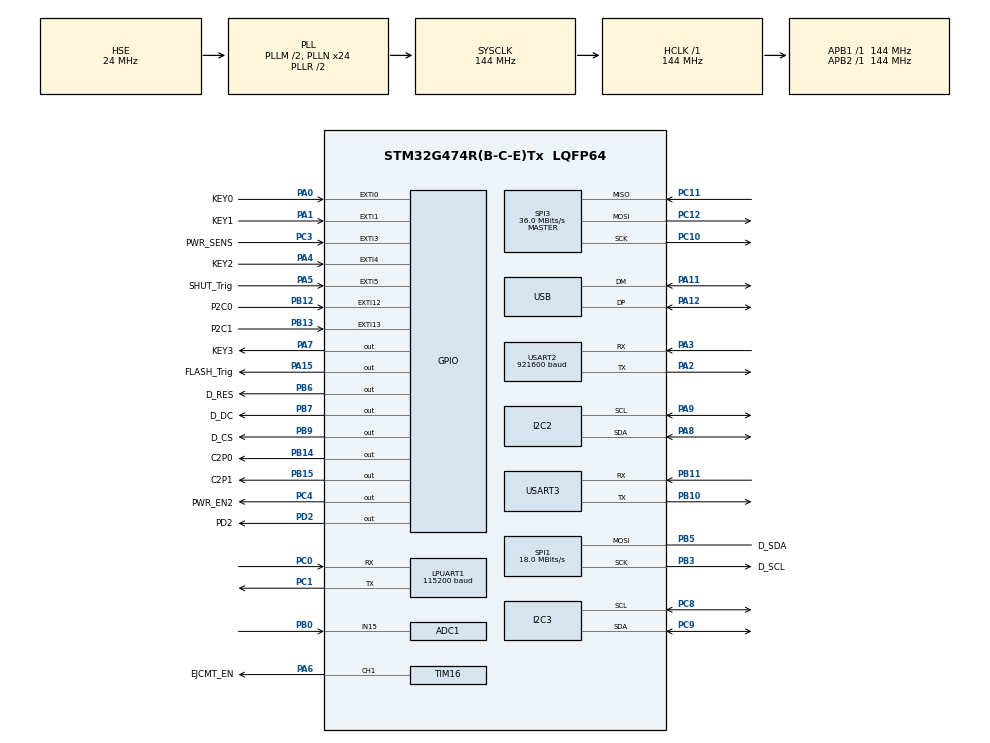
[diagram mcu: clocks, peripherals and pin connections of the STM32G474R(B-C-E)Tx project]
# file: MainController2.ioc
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ADC1.Channel-0\#ChannelRegularConversion=ADC_CHANNEL_15
ADC1.Channel-1\#ChannelRegularConversion=ADC_CHANNEL_TEMPSENSOR_ADC1
ADC1.Channel-2\#ChannelRegularConversion=ADC_CHANNEL_VREFINT
ADC1.DiscontinuousConvMode=DISABLE
ADC1.EOCSelection=ADC_EOC_SEQ_CONV
ADC1.NbrOfConversion=3
ADC1.NbrOfConversionFlag=1
ADC1.OffsetNumber-0\#ChannelRegularConversion=ADC_OFFSET_NONE
ADC1.OffsetNumber-1\#ChannelRegularConversion=ADC_OFFSET_NONE
ADC1.OffsetNumber-2\#ChannelRegularConversion=ADC_OFFSET_NONE
ADC1.OversamplingMode=DISABLE
ADC1.Rank-0\#ChannelRegularConversion=1
ADC1.Rank-1\#ChannelRegularConversion=2
ADC1.Rank-2\#ChannelRegularConversion=3
ADC1.SamplingTime-0\#ChannelRegularConversion=ADC_SAMPLETIME_640CYCLES_5
ADC1.SamplingTime-1\#ChannelRegularConversion=ADC_SAMPLETIME_12CYCLES_5
ADC1.SamplingTime-2\#ChannelRegularConversion=ADC_SAMPLETIME_12CYCLES_5
ADC1.master=1
Dma.ADC1.8.Direction=DMA_PERIPH_TO_MEMORY
Dma.ADC1.8.EventEnable=DISABLE
Dma.ADC1.8.Instance=DMA2_Channel3
Dma.ADC1.8.MemDataAlignment=DMA_MDATAALIGN_HALFWORD
Dma.ADC1.8.MemInc=DMA_MINC_ENABLE
Dma.ADC1.8.Mode=DMA_NORMAL
Dma.ADC1.8.PeriphDataAlignment=DMA_PDATAALIGN_HALFWORD
Dma.ADC1.8.PeriphInc=DMA_PINC_DISABLE
Dma.ADC1.8.Polarity=HAL_DMAMUX_REQ_GEN_RISING
Dma.ADC1.8.Priority=DMA_PRIORITY_HIGH
Dma.ADC1.8.RequestNumber=1
Dma.ADC1.8.SignalID=NONE
Dma.ADC1.8.SyncEnable=DISABLE
Dma.ADC1.8.SyncPolarity=HAL_DMAMUX_SYNC_NO_EVENT
Dma.ADC1.8.SyncRequestNumber=1
Dma.ADC1.8.SyncSignalID=NONE
Dma.I2C2_RX.0.Direction=DMA_PERIPH_TO_MEMORY
Dma.I2C2_RX.0.EventEnable=DISABLE
Dma.I2C2_RX.0.Instance=DMA1_Channel1
Dma.I2C2_RX.0.MemDataAlignment=DMA_MDATAALIGN_BYTE
Dma.I2C2_RX.0.MemInc=DMA_MINC_ENABLE
Dma.I2C2_RX.0.Mode=DMA_NORMAL
Dma.I2C2_RX.0.PeriphDataAlignment=DMA_PDATAALIGN_BYTE
Dma.I2C2_RX.0.PeriphInc=DMA_PINC_DISABLE
Dma.I2C2_RX.0.Polarity=HAL_DMAMUX_REQ_GEN_RISING
Dma.I2C2_RX.0.Priority=DMA_PRIORITY_LOW
Dma.I2C2_RX.0.RequestNumber=1
Dma.I2C2_RX.0.SignalID=NONE
Dma.I2C2_RX.0.SyncEnable=DISABLE
Dma.I2C2_RX.0.SyncPolarity=HAL_DMAMUX_SYNC_NO_EVENT
Dma.I2C2_RX.0.SyncRequestNumber=1
Dma.I2C2_RX.0.SyncSignalID=NONE
Dma.I2C2_TX.1.Direction=DMA_MEMORY_TO_PERIPH
Dma.I2C2_TX.1.EventEnable=DISABLE
Dma.I2C2_TX.1.Instance=DMA1_Channel2
Dma.I2C2_TX.1.MemDataAlignment=DMA_MDATAALIGN_BYTE
Dma.I2C2_TX.1.MemInc=DMA_MINC_ENABLE
Dma.I2C2_TX.1.Mode=DMA_NORMAL
Dma.I2C2_TX.1.PeriphDataAlignment=DMA_PDATAALIGN_BYTE
Dma.I2C2_TX.1.PeriphInc=DMA_PINC_DISABLE
Dma.I2C2_TX.1.Polarity=HAL_DMAMUX_REQ_GEN_RISING
Dma.I2C2_TX.1.Priority=DMA_PRIORITY_LOW
Dma.I2C2_TX.1.RequestNumber=1
Dma.I2C2_TX.1.SignalID=NONE
Dma.I2C2_TX.1.SyncEnable=DISABLE
Dma.I2C2_TX.1.SyncPolarity=HAL_DMAMUX_SYNC_NO_EVENT
Dma.I2C2_TX.1.SyncRequestNumber=1
Dma.I2C2_TX.1.SyncSignalID=NONE
Dma.I2C3_RX.2.Direction=DMA_PERIPH_TO_MEMORY
Dma.I2C3_RX.2.EventEnable=DISABLE
Dma.I2C3_RX.2.Instance=DMA1_Channel3
Dma.I2C3_RX.2.MemDataAlignment=DMA_MDATAALIGN_BYTE
Dma.I2C3_RX.2.MemInc=DMA_MINC_ENABLE
Dma.I2C3_RX.2.Mode=DMA_NORMAL
Dma.I2C3_RX.2.PeriphDataAlignment=DMA_PDATAALIGN_BYTE
Dma.I2C3_RX.2.PeriphInc=DMA_PINC_DISABLE
Dma.I2C3_RX.2.Polarity=HAL_DMAMUX_REQ_GEN_RISING
Dma.I2C3_RX.2.Priority=DMA_PRIORITY_LOW
Dma.I2C3_RX.2.RequestNumber=1
Dma.I2C3_RX.2.SignalID=NONE
Dma.I2C3_RX.2.SyncEnable=DISABLE
Dma.I2C3_RX.2.SyncPolarity=HAL_DMAMUX_SYNC_NO_EVENT
Dma.I2C3_RX.2.SyncRequestNumber=1
Dma.I2C3_RX.2.SyncSignalID=NONE
Dma.I2C3_TX.3.Direction=DMA_MEMORY_TO_PERIPH
Dma.I2C3_TX.3.EventEnable=DISABLE
Dma.I2C3_TX.3.Instance=DMA1_Channel4
Dma.I2C3_TX.3.MemDataAlignment=DMA_MDATAALIGN_BYTE
Dma.I2C3_TX.3.MemInc=DMA_MINC_ENABLE
Dma.I2C3_TX.3.Mode=DMA_NORMAL
Dma.I2C3_TX.3.PeriphDataAlignment=DMA_PDATAALIGN_BYTE
Dma.I2C3_TX.3.PeriphInc=DMA_PINC_DISABLE
Dma.I2C3_TX.3.Polarity=HAL_DMAMUX_REQ_GEN_RISING
Dma.I2C3_TX.3.Priority=DMA_PRIORITY_LOW
Dma.I2C3_TX.3.RequestNumber=1
Dma.I2C3_TX.3.SignalID=NONE
Dma.I2C3_TX.3.SyncEnable=DISABLE
Dma.I2C3_TX.3.SyncPolarity=HAL_DMAMUX_SYNC_NO_EVENT
Dma.I2C3_TX.3.SyncRequestNumber=1
Dma.I2C3_TX.3.SyncSignalID=NONE
Dma.Request0=I2C2_RX
Dma.Request1=I2C2_TX
Dma.Request10=SPI1_RX
Dma.Request2=I2C3_RX
Dma.Request3=I2C3_TX
Dma.Request4=USART3_RX
Dma.Request5=USART3_TX
Dma.Request6=SPI3_RX
Dma.Request7=SPI3_TX
Dma.Request8=ADC1
Dma.Request9=SPI1_TX
Dma.SPI1_RX.10.Direction=DMA_PERIPH_TO_MEMORY
Dma.SPI1_RX.10.EventEnable=DISABLE
Dma.SPI1_RX.10.Instance=DMA1_Channel6
Dma.SPI1_RX.10.MemDataAlignment=DMA_MDATAALIGN_HALFWORD
Dma.SPI1_RX.10.MemInc=DMA_MINC_ENABLE
Dma.SPI1_RX.10.Mode=DMA_NORMAL
Dma.SPI1_RX.10.PeriphDataAlignment=DMA_PDATAALIGN_HALFWORD
Dma.SPI1_RX.10.PeriphInc=DMA_PINC_DISABLE
Dma.SPI1_RX.10.Polarity=HAL_DMAMUX_REQ_GEN_RISING
Dma.SPI1_RX.10.Priority=DMA_PRIORITY_LOW
Dma.SPI1_RX.10.RequestNumber=1
Dma.SPI1_RX.10.SignalID=NONE
Dma.SPI1_RX.10.SyncEnable=DISABLE
Dma.SPI1_RX.10.SyncPolarity=HAL_DMAMUX_SYNC_NO_EVENT
Dma.SPI1_RX.10.SyncRequestNumber=1
Dma.SPI1_RX.10.SyncSignalID=NONE
Dma.SPI1_TX.9.Direction=DMA_MEMORY_TO_PERIPH
Dma.SPI1_TX.9.EventEnable=DISABLE
Dma.SPI1_TX.9.Instance=DMA1_Channel5
Dma.SPI1_TX.9.MemDataAlignment=DMA_MDATAALIGN_HALFWORD
Dma.SPI1_TX.9.MemInc=DMA_MINC_ENABLE
Dma.SPI1_TX.9.Mode=DMA_NORMAL
Dma.SPI1_TX.9.PeriphDataAlignment=DMA_PDATAALIGN_HALFWORD
Dma.SPI1_TX.9.PeriphInc=DMA_PINC_DISABLE
Dma.SPI1_TX.9.Polarity=HAL_DMAMUX_REQ_GEN_RISING
Dma.SPI1_TX.9.Priority=DMA_PRIORITY_HIGH
Dma.SPI1_TX.9.RequestNumber=1
Dma.SPI1_TX.9.SignalID=NONE
Dma.SPI1_TX.9.SyncEnable=DISABLE
Dma.SPI1_TX.9.SyncPolarity=HAL_DMAMUX_SYNC_NO_EVENT
Dma.SPI1_TX.9.SyncRequestNumber=1
Dma.SPI1_TX.9.SyncSignalID=NONE
Dma.SPI3_RX.6.Direction=DMA_PERIPH_TO_MEMORY
Dma.SPI3_RX.6.EventEnable=DISABLE
Dma.SPI3_RX.6.Instance=DMA2_Channel5
Dma.SPI3_RX.6.MemDataAlignment=DMA_MDATAALIGN_BYTE
Dma.SPI3_RX.6.MemInc=DMA_MINC_ENABLE
Dma.SPI3_RX.6.Mode=DMA_NORMAL
Dma.SPI3_RX.6.PeriphDataAlignment=DMA_PDATAALIGN_BYTE
Dma.SPI3_RX.6.PeriphInc=DMA_PINC_DISABLE
Dma.SPI3_RX.6.Polarity=HAL_DMAMUX_REQ_GEN_RISING
Dma.SPI3_RX.6.Priority=DMA_PRIORITY_LOW
Dma.SPI3_RX.6.RequestNumber=1
Dma.SPI3_RX.6.SignalID=NONE
Dma.SPI3_RX.6.SyncEnable=DISABLE
Dma.SPI3_RX.6.SyncPolarity=HAL_DMAMUX_SYNC_NO_EVENT
Dma.SPI3_RX.6.SyncRequestNumber=1
Dma.SPI3_RX.6.SyncSignalID=NONE
Dma.SPI3_TX.7.Direction=DMA_MEMORY_TO_PERIPH
Dma.SPI3_TX.7.EventEnable=DISABLE
Dma.SPI3_TX.7.Instance=DMA2_Channel6
Dma.SPI3_TX.7.MemDataAlignment=DMA_MDATAALIGN_BYTE
Dma.SPI3_TX.7.MemInc=DMA_MINC_ENABLE
Dma.SPI3_TX.7.Mode=DMA_NORMAL
Dma.SPI3_TX.7.PeriphDataAlignment=DMA_PDATAALIGN_BYTE
Dma.SPI3_TX.7.PeriphInc=DMA_PINC_DISABLE
Dma.SPI3_TX.7.Polarity=HAL_DMAMUX_REQ_GEN_RISING
Dma.SPI3_TX.7.Priority=DMA_PRIORITY_LOW
Dma.SPI3_TX.7.RequestNumber=1
Dma.SPI3_TX.7.SignalID=NONE
Dma.SPI3_TX.7.SyncEnable=DISABLE
Dma.SPI3_TX.7.SyncPolarity=HAL_DMAMUX_SYNC_NO_EVENT
Dma.SPI3_TX.7.SyncRequestNumber=1
Dma.SPI3_TX.7.SyncSignalID=NONE
Dma.USART3_RX.4.Direction=DMA_PERIPH_TO_MEMORY
Dma.USART3_RX.4.EventEnable=DISABLE
Dma.USART3_RX.4.Instance=DMA2_Channel1
Dma.USART3_RX.4.MemDataAlignment=DMA_MDATAALIGN_BYTE
Dma.USART3_RX.4.MemInc=DMA_MINC_ENABLE
Dma.USART3_RX.4.Mode=DMA_NORMAL
Dma.USART3_RX.4.PeriphDataAlignment=DMA_PDATAALIGN_BYTE
Dma.USART3_RX.4.PeriphInc=DMA_PINC_DISABLE
Dma.USART3_RX.4.Polarity=HAL_DMAMUX_REQ_GEN_RISING
Dma.USART3_RX.4.Priority=DMA_PRIORITY_LOW
Dma.USART3_RX.4.RequestNumber=1
Dma.USART3_RX.4.SignalID=NONE
Dma.USART3_RX.4.SyncEnable=DISABLE
Dma.USART3_RX.4.SyncPolarity=HAL_DMAMUX_SYNC_NO_EVENT
Dma.USART3_RX.4.SyncRequestNumber=1
Dma.USART3_RX.4.SyncSignalID=NONE
Dma.USART3_TX.5.Direction=DMA_MEMORY_TO_PERIPH
Dma.USART3_TX.5.EventEnable=DISABLE
Dma.USART3_TX.5.Instance=DMA2_Channel2
Dma.USART3_TX.5.MemDataAlignment=DMA_MDATAALIGN_BYTE
Dma.USART3_TX.5.MemInc=DMA_MINC_ENABLE
Dma.USART3_TX.5.Mode=DMA_NORMAL
Dma.USART3_TX.5.PeriphDataAlignment=DMA_PDATAALIGN_BYTE
Dma.USART3_TX.5.PeriphInc=DMA_PINC_DISABLE
Dma.USART3_TX.5.Polarity=HAL_DMAMUX_REQ_GEN_RISING
Dma.USART3_TX.5.Priority=DMA_PRIORITY_LOW
Dma.USART3_TX.5.RequestNumber=1
Dma.USART3_TX.5.SignalID=NONE
Dma.USART3_TX.5.SyncEnable=DISABLE
Dma.USART3_TX.5.SyncPolarity=HAL_DMAMUX_SYNC_NO_EVENT
Dma.USART3_TX.5.SyncRequestNumber=1
Dma.USART3_TX.5.SyncSignalID=NONE
I2C2.Timing=0x60715075
I2C3.Timing=0x60715075
LPUART1.BaudRate=115200
Mcu.Family=STM32G4
Mcu.Name=STM32G474R(B-C-E)Tx
Mcu.Package=LQFP64
NVIC.ADC1_2_IRQn=true\:0\:0\:false\:false\:true\:true\:true\:true
NVIC.DMA1_Channel1_IRQn=true\:0\:0\:false\:false\:true\:false\:true\:true
NVIC.DMA1_Channel2_IRQn=true\:0\:0\:false\:false\:true\:false\:true\:true
NVIC.DMA1_Channel3_IRQn=true\:0\:0\:false\:false\:true\:false\:true\:true
NVIC.DMA1_Channel4_IRQn=true\:0\:0\:false\:false\:true\:false\:true\:true
NVIC.DMA1_Channel5_IRQn=true\:0\:0\:false\:false\:true\:false\:true\:true
NVIC.DMA1_Channel6_IRQn=true\:0\:0\:false\:false\:true\:false\:true\:true
NVIC.DMA2_Channel1_IRQn=true\:0\:0\:false\:false\:true\:false\:true\:true
NVIC.DMA2_Channel2_IRQn=true\:0\:0\:false\:false\:true\:false\:true\:true
NVIC.DMA2_Channel3_IRQn=true\:0\:0\:false\:false\:true\:false\:true\:true
NVIC.DMA2_Channel5_IRQn=true\:0\:0\:false\:false\:true\:false\:true\:true
NVIC.DMA2_Channel6_IRQn=true\:0\:0\:false\:false\:true\:false\:true\:true
NVIC.EXTI0_IRQn=true\:0\:0\:false\:false\:true\:true\:true\:true
NVIC.EXTI15_10_IRQn=true\:0\:0\:false\:false\:true\:true\:true\:true
NVIC.EXTI1_IRQn=true\:0\:0\:false\:false\:true\:true\:true\:true
NVIC.EXTI4_IRQn=true\:0\:0\:false\:false\:true\:true\:true\:true
NVIC.EXTI9_5_IRQn=true\:0\:0\:false\:false\:true\:true\:true\:true
NVIC.I2C2_EV_IRQn=true\:0\:0\:false\:false\:true\:true\:true\:true
NVIC.I2C3_EV_IRQn=true\:0\:0\:false\:false\:true\:true\:true\:true
NVIC.PriorityGroup=NVIC_PRIORITYGROUP_4
NVIC.SPI1_IRQn=true\:0\:0\:false\:false\:true\:true\:true\:true
NVIC.SPI3_IRQn=true\:0\:0\:false\:false\:true\:true\:true\:true
NVIC.TIM1_UP_TIM16_IRQn=true\:0\:0\:false\:false\:true\:true\:true\:true
NVIC.TIM2_IRQn=true\:0\:0\:false\:false\:true\:true\:true\:true
NVIC.TIM3_IRQn=true\:0\:0\:false\:false\:true\:true\:true\:true
NVIC.USART2_IRQn=true\:0\:0\:false\:false\:true\:true\:true\:true
NVIC.USB_HP_IRQn=true\:0\:0\:false\:false\:true\:true\:true\:true
NVIC.USB_LP_IRQn=true\:0\:0\:false\:false\:true\:false\:true\:true
PA0.GPIO_Label=KEY0
PA0.Signal=GPXTI0
PA1.GPIO_Label=KEY1
PA1.Signal=GPXTI1
PA11.Mode=Device
PA11.Signal=USB_DM
PA12.Mode=Device
PA12.Signal=USB_DP
PA13.Mode=Serial_Wire
PA13.Signal=SYS_JTMS-SWDIO
PA14.Mode=Serial_Wire
PA14.Signal=SYS_JTCK-SWCLK
PA15.GPIO_Label=FLASH_Trig
PA15.Signal=GPIO_Output
PA2.Mode=Asynchronous
PA2.Signal=USART2_TX
PA3.Mode=Asynchronous
PA3.Signal=USART2_RX
PA4.GPIO_Label=KEY2
PA4.Signal=GPXTI4
PA5.GPIO_Label=SHUT_Trig
PA5.GPIO_ModeDefaultEXTI=GPIO_MODE_IT_RISING
PA5.GPIO_PuPd=GPIO_PULLDOWN
PA5.Signal=GPXTI5
PA6.GPIO_Label=EJCMT_EN
PA6.GPIO_PuPd=GPIO_PULLDOWN
PA6.GPIO_Speed=GPIO_SPEED_FREQ_VERY_HIGH
PA6.Signal=S_TIM16_CH1
PA7.GPIO_Label=KEY3
PA7.Signal=GPIO_Output
PA8.Mode=I2C
PA8.Signal=I2C2_SDA
PA9.Mode=I2C
PA9.Signal=I2C2_SCL
PB0.Mode=IN15-Single-Ended
PB0.Signal=ADC1_IN15
PB10.Mode=Asynchronous
PB10.Signal=USART3_TX
PB11.Mode=Asynchronous
PB11.Signal=USART3_RX
PB12.GPIO_Label=P2C0
PB12.Signal=GPXTI12
PB13.GPIO_Label=P2C1
PB13.Signal=GPXTI13
PB14.GPIO_Label=C2P0
PB14.Signal=GPIO_Output
PB15.GPIO_Label=C2P1
PB15.Signal=GPIO_Output
PB3.GPIO_Label=D_SCL
PB3.Mode=Simplex_Bidirectional_Master
PB3.Signal=SPI1_SCK
PB5.GPIO_Label=D_SDA
PB5.Mode=Simplex_Bidirectional_Master
PB5.Signal=SPI1_MOSI
PB6.GPIO_Label=D_RES
PB6.Signal=GPIO_Output
PB7.GPIO_Label=D_DC
PB7.Signal=GPIO_Output
PB9.GPIO_Label=D_CS
PB9.Signal=GPIO_Output
PC0.Mode=Asynchronous
PC0.Signal=LPUART1_RX
PC1.Mode=Asynchronous
PC1.Signal=LPUART1_TX
PC10.Mode=Full_Duplex_Master
PC10.Signal=SPI3_SCK
PC11.Mode=Full_Duplex_Master
PC11.Signal=SPI3_MISO
PC12.Mode=Full_Duplex_Master
PC12.Signal=SPI3_MOSI
PC14-OSC32_IN.Mode=LSE-External-Oscillator
PC14-OSC32_IN.Signal=RCC_OSC32_IN
PC15-OSC32_OUT.Mode=LSE-External-Oscillator
PC15-OSC32_OUT.Signal=RCC_OSC32_OUT
PC3.GPIO_Label=PWR_SENS
PC3.Signal=GPXTI3
PC4.GPIO_Label=PWR_EN2
PC4.Signal=GPIO_Output
PC8.Mode=I2C
PC8.Signal=I2C3_SCL
PC9.Mode=I2C
PC9.Signal=I2C3_SDA
PD2.GPIO_Label=PD2
PD2.Signal=GPIO_Output
PF0-OSC_IN.Mode=HSE-External-Oscillator
PF0-OSC_IN.Signal=RCC_OSC_IN
PF1-OSC_OUT.Mode=HSE-External-Oscillator
PF1-OSC_OUT.Signal=RCC_OSC_OUT
ProjectManager.HeapSize=0x2000
ProjectManager.StackSize=0x1000
ProjectManager.TargetToolchain=MDK-ARM V5.32
RCC.ADC12Freq_Value=144000000
RCC.ADC345Freq_Value=144000000
RCC.AHBFreq_Value=144000000
RCC.APB1Freq_Value=144000000
RCC.APB1TimFreq_Value=144000000
RCC.APB2Freq_Value=144000000
RCC.APB2TimFreq_Value=144000000
RCC.CK48CLockSelection=RCC_USBCLKSOURCE_HSI48
RCC.CortexFreq_Value=144000000
RCC.EXTERNAL_CLOCK_VALUE=12288000
RCC.HCLKFreq_Value=144000000
RCC.HSE_VALUE=24000000
RCC.HSI48_VALUE=48000000
RCC.HSI_VALUE=16000000
RCC.PLLM=RCC_PLLM_DIV2
RCC.PLLN=24
RCC.PLLQ=RCC_PLLQ_DIV6
RCC.PLLSourceVirtual=RCC_PLLSOURCE_HSE
RCC.RTCClockSelection=RCC_RTCCLKSOURCE_LSE
RCC.SYSCLKFreq_VALUE=144000000
RCC.SYSCLKSource=RCC_SYSCLKSOURCE_PLLCLK
RCC.USBFreq_Value=48000000
RCC.VCOOutputFreq_Value=288000000
SH.S_TIM16_CH1.0=TIM16_CH1,PWM Generation1 CH1
SPI1.BaudRatePrescaler=SPI_BAUDRATEPRESCALER_8
SPI1.CLKPhase=SPI_PHASE_2EDGE
SPI1.CLKPolarity=SPI_POLARITY_HIGH
SPI1.CalculateBaudRate=18.0 MBits/s
SPI1.DataSize=SPI_DATASIZE_8BIT
SPI1.Direction=SPI_DIRECTION_1LINE
SPI1.Mode=SPI_MODE_MASTER
SPI1.VirtualType=VM_MASTER
SPI3.BaudRatePrescaler=SPI_BAUDRATEPRESCALER_4
SPI3.CalculateBaudRate=36.0 MBits/s
SPI3.Direction=SPI_DIRECTION_2LINES
SPI3.Mode=SPI_MODE_MASTER
SPI3.NSSPMode=SPI_NSS_PULSE_ENABLE
SPI3.VirtualType=VM_MASTER
TIM1.Prescaler=0
TIM16.Channel=TIM_CHANNEL_1
TIM16.PeriodNoDither=10000-1
TIM16.Prescaler=144 - 1
TIM2.AutoReloadPreload=TIM_AUTORELOAD_PRELOAD_ENABLE
TIM2.PeriodNoDither=100-1
TIM2.Prescaler=14400-1
TIM3.PeriodNoDither=100-1
TIM3.Prescaler=1440-1
USART2.BaudRate=921600
USART2.VirtualMode-Asynchronous=VM_ASYNC
USART3.VirtualMode-Asynchronous=VM_ASYNC
USB_DEVICE.CLASS_NAME_FS=CDC
USB_DEVICE.VirtualMode=Cdc
USB_DEVICE.VirtualModeFS=Cdc_FS
VP_ADC1_TempSens_Input.Mode=IN-TempSens
VP_ADC1_Vref_Input.Mode=IN-Vrefint
VP_RTC_VS_RTC_Activate.Mode=RTC_Enabled
VP_RTC_VS_RTC_Calendar.Mode=RTC_Calendar
VP_SYS_VS_DBSignals.Mode=DisableDeadBatterySignals
VP_TIM16_VS_ClockSourceINT.Mode=Enable_Timer
VP_TIM1_VS_ClockSourceINT.Mode=Internal
VP_TIM2_VS_ClockSourceINT.Mode=Internal
VP_TIM3_VS_ClockSourceINT.Mode=Internal
VP_USB_DEVICE_VS_USB_DEVICE_CDC_FS.Mode=CDC_FS
board=custom

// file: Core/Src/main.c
/* USER CODE BEGIN Header */
/**
  ******************************************************************************
  * @file           : main.c
  * @brief          : Main program body
  ******************************************************************************
  * @attention
  *
  * Copyright (c) 2025 STMicroelectronics.
  * All rights reserved.
  *
  * This software is licensed under terms that can be found in the LICENSE file
  * in the root directory of this software component.
  * If no LICENSE file comes with this software, it is provided AS-IS.
  *
  ******************************************************************************
  */
/* USER CODE END Header */
#include "main.h"
#include "adc.h"
#include "dma.h"
#include "i2c.h"
#include "usart.h"
#include "rtc.h"
#include "spi.h"
#include "tim.h"
#include "usb_device.h"
#include "gpio.h"

/* USER CODE BEGIN Includes */
#include "lcd_usr.h"
// #include "zui.h"
#include "zui_usr.h"
#include "tmp102.h"
#include "sdm18.h"
#include "eeprom.h"
#include "DataStore.h"
#include "lvgl.h"                // 它为整个LVGL提供了更完整的头文件引用
#include "lvgl_usr.h"
#include "lv_port_disp.h"        // LVGL的显示支持
#include "lv_port_indev.h"       // LVGL的触屏支持
/* USER CODE END Includes */

/* USER CODE BEGIN PV */
volatile uint8_t tim2_int_mask = 0;
const GPIO_TypeDef * KEY_Ports[USR_KEY_COUNT] = {KEY0_GPIO_Port, KEY1_GPIO_Port, KEY2_GPIO_Port};
const uint16_t KEY_Pins[USR_KEY_COUNT] = {KEY0_Pin, KEY1_Pin, KEY2_Pin};
USR_KEY USR_KEYs[USR_KEY_COUNT];
extern double BAT_V, temperature_cd;
extern UI_Element zui_elm_char12;
extern UI_Element bat_elm_char16;
extern UI_Element batnum_elm_char16;
uint8_t shut_trig_stat = 0;

/* LVGL 数据同步 */
extern char lvgl_bat_vals[6];
extern char lvgl_key_vals[4];
extern char lvgl_distance_vals[6];
extern char lvgl_core_temp_vals[3];
extern char lvgl_board_temp_vals[3];
extern char lvgl_rbc_vals[6];
extern char lvgl_mtl_vals[6];
extern char lvgl_stc_vals[6];
/* USER CODE END PV */

void SystemClock_Config(void);
/* USER CODE BEGIN PFP */
void key_init(void);
void key_scan(void);
/* USER CODE END PFP */

int main(void)
{

  /* USER CODE BEGIN 1 */

  extern UI_Layer normal_layer;
  extern uint8_t motor_state, motor_state_delay;
	extern double BAT_V;
  /* USER CODE END 1 */

  /* MCU Configuration--------------------------------------------------------*/

  /* Reset of all peripherals, Initializes the Flash interface and the Systick. */
  HAL_Init();

  /* Configure the system clock */
  SystemClock_Config();

  /* Initialize all configured peripherals */
  MX_GPIO_Init();
  MX_DMA_Init();
  MX_ADC1_Init();
  MX_I2C2_Init();
  MX_SPI1_Init();
  MX_USART2_UART_Init();
  MX_USART3_UART_Init();
  MX_I2C3_Init();
  MX_RTC_Init();
  MX_SPI3_Init();
  MX_LPUART1_UART_Init();
  MX_TIM2_Init();
  MX_USB_Device_Init();
  MX_TIM1_Init();
  MX_TIM16_Init();
  MX_TIM3_Init();
  /* USER CODE BEGIN 2 */

  // 开始启动
  HAL_GPIO_WritePin(FLASH_Trig_GPIO_Port, FLASH_Trig_Pin, GPIO_PIN_RESET);

  HAL_GPIO_WritePin(KEY3_GPIO_Port, KEY3_Pin, GPIO_PIN_RESET);
  HAL_Delay(100);
  HAL_GPIO_WritePin(KEY3_GPIO_Port, KEY3_Pin, GPIO_PIN_SET);

  init_data_eeprom();
  HAL_Delay(10);
  data_update_rbc();

  // 按键初始化
  key_init();

  // ADC 初始化
	HAL_ADCEx_Calibration_Start(&hadc1, ADC_SINGLE_ENDED);    //AD校准

  // 屏幕显示初始化
  HAL_TIM_Base_Start_IT(&htim2);
  HAL_TIM_Base_Start_IT(&htim3);
  LCD_BLK_Set();
  // zui_init();
  lvgl_init_ui();

  // zui_dirty_current_layer();
  // zui_render_current_layer();

  // zui_set_current_layer(&normal_layer);
  // zui_dirty_current_layer();
  // zui_render_current_layer();

  HAL_Delay(100);
  // sdm18_start_meter();
  sdm18_single_meter();

  HAL_Delay(100);
	HAL_GPIO_WritePin(KEY3_GPIO_Port, KEY3_Pin, GPIO_PIN_RESET);

  /* USER CODE END 2 */

  /* Infinite loop */
  /* USER CODE BEGIN WHILE */
  while (1)
  {

    if ( (tim2_int_mask & TIM_INT1S_MASK) != 0){
      tim2_int_mask &= (~TIM_INT1S_MASK);
      Z_ADC_DMA_Start(&hadc1);
			if (BAT_V > 3.0){
				HAL_GPIO_TogglePin(KEY3_GPIO_Port, KEY3_Pin);
				LCD_BLK_Set();
			}
			else{
				HAL_GPIO_WritePin(KEY3_GPIO_Port, KEY3_Pin, GPIO_PIN_SET);
				// LCD_BLK_Clr();
			}

      TMP102_ReadTemperature();
    }

    if ( (tim2_int_mask & TIM_INT10MS_MASK) != 0){
      tim2_int_mask &= (~TIM_INT10MS_MASK);
      key_scan();
      if (shut_trig_stat)
      {
        if (shut_trig_stat == 1)
        {
          shut_trig_stat+=1;
        }
        else if (shut_trig_stat == 2)
        {
          shut_trig_stat = 0;
          HAL_GPIO_WritePin(FLASH_Trig_GPIO_Port, FLASH_Trig_Pin, GPIO_PIN_RESET);
        }
      }
    }

    if ( (tim2_int_mask & TIM_INT200MS_MASK) != 0) {
      tim2_int_mask &= (~TIM_INT200MS_MASK);
      if (motor_state_delay == 1 && motor_state == 0) motor_state_delay = 2;
      if (motor_state_delay == 2) motor_state_delay = 0;
      // zui_render_current_layer();
    }

    if ( (tim2_int_mask & TIM_INT300MS_MASK) != 0) {
      tim2_int_mask &= (~TIM_INT300MS_MASK);
      if (motor_state_delay == 0) sdm18_single_meter();
    }

    if ( (tim2_int_mask & TIM_INT50MS_MASK) != 0) {
      tim2_int_mask &= (~TIM_INT50MS_MASK);
      lv_timer_handler();
      lvgl_update_display();
    }

    /* USER CODE END WHILE */

  }
}

void SystemClock_Config(void)
{
  RCC_OscInitTypeDef RCC_OscInitStruct = {0};
  RCC_ClkInitTypeDef RCC_ClkInitStruct = {0};

  /** Configure the main internal regulator output voltage
  */
  HAL_PWREx_ControlVoltageScaling(PWR_REGULATOR_VOLTAGE_SCALE1);

  /** Configure LSE Drive Capability
  */
  HAL_PWR_EnableBkUpAccess();
  __HAL_RCC_LSEDRIVE_CONFIG(RCC_LSEDRIVE_LOW);

  /** Initializes the RCC Oscillators according to the specified parameters
  * in the RCC_OscInitTypeDef structure.
  */
  RCC_OscInitStruct.OscillatorType = RCC_OSCILLATORTYPE_HSI48|RCC_OSCILLATORTYPE_HSE
                              |RCC_OSCILLATORTYPE_LSE;
  RCC_OscInitStruct.HSEState = RCC_HSE_ON;
  RCC_OscInitStruct.LSEState = RCC_LSE_ON;
  RCC_OscInitStruct.HSI48State = RCC_HSI48_ON;
  RCC_OscInitStruct.PLL.PLLState = RCC_PLL_ON;
  RCC_OscInitStruct.PLL.PLLSource = RCC_PLLSOURCE_HSE;
  RCC_OscInitStruct.PLL.PLLM = RCC_PLLM_DIV2;
  RCC_OscInitStruct.PLL.PLLN = 24;
  RCC_OscInitStruct.PLL.PLLP = RCC_PLLP_DIV2;
  RCC_OscInitStruct.PLL.PLLQ = RCC_PLLQ_DIV6;
  RCC_OscInitStruct.PLL.PLLR = RCC_PLLR_DIV2;
  if (HAL_RCC_OscConfig(&RCC_OscInitStruct) != HAL_OK)
  {
    Error_Handler();
  }

  /** Initializes the CPU, AHB and APB buses clocks
  */
  RCC_ClkInitStruct.ClockType = RCC_CLOCKTYPE_HCLK|RCC_CLOCKTYPE_SYSCLK
                              |RCC_CLOCKTYPE_PCLK1|RCC_CLOCKTYPE_PCLK2;
  RCC_ClkInitStruct.SYSCLKSource = RCC_SYSCLKSOURCE_PLLCLK;
  RCC_ClkInitStruct.AHBCLKDivider = RCC_SYSCLK_DIV1;
  RCC_ClkInitStruct.APB1CLKDivider = RCC_HCLK_DIV1;
  RCC_ClkInitStruct.APB2CLKDivider = RCC_HCLK_DIV1;

  if (HAL_RCC_ClockConfig(&RCC_ClkInitStruct, FLASH_LATENCY_4) != HAL_OK)
  {
    Error_Handler();
  }
}

/* USER CODE BEGIN 4 */
void key_init(void)
{
  uint32_t time = HAL_GetTick();
  uint8_t i = 0;
  for ( i = 0; i < USR_KEY_COUNT; i++)
  {
    USR_KEYs[i].key_index = i;
    USR_KEYs[i].last_action_time = time;
    USR_KEYs[i].last_action = HAL_GPIO_ReadPin((GPIO_TypeDef *) KEY_Ports[i], KEY_Pins[i]);
    USR_KEYs[i].key_action = 0;
  }
  HAL_NVIC_DisableIRQ(EXTI0_IRQn);  // KEY 0
  HAL_NVIC_DisableIRQ(EXTI1_IRQn);  // KEY 1
  HAL_NVIC_DisableIRQ(EXTI4_IRQn);  // KEY 2
}

void key_scan(void)
{
  uint32_t time = HAL_GetTick();
  uint8_t i = 0;
  GPIO_PinState temp;

  for ( i = 0; i < USR_KEY_COUNT; i++)
  {
    temp = HAL_GPIO_ReadPin((GPIO_TypeDef *) KEY_Ports[i], KEY_Pins[i]);
    // 没变化则继续
    if (temp == USR_KEYs[i].last_action){
      continue;
    }
    // 抖动则赋值后继续
    if ( time - USR_KEYs[i].last_action_time < KEY_DEBOUNCE_TIME){
      USR_KEYs[i].last_action = temp;
      USR_KEYs[i].last_action_time = time;
      continue;
    }
    // 非抖动开始处理
    // 如果是下降沿,只计时(按下按键)
    if ( temp == GPIO_PIN_RESET ){
      USR_KEYs[i].last_action = temp;
      USR_KEYs[i].last_action_time = time;
      continue;
    }
    // 上升沿,判断时间(松开判断长短按)
    if ( time - USR_KEYs[i].last_action_time > KEY_LONG_PRESS_TIME){
      USR_KEYs[i].last_action = temp;
      USR_KEYs[i].last_action_time = time;
      USR_KEYs[i].key_action = 2;
    }
    else
    {
      USR_KEYs[i].last_action = temp;
      USR_KEYs[i].last_action_time = time;
      USR_KEYs[i].key_action = 1;
    }
    zui_key_respond(&USR_KEYs[i]);
    lvgl_on_key(USR_KEYs[i].key_index, USR_KEYs[i].key_action);
  }
}
/* USER CODE END 4 */

void Error_Handler(void)
{
  __disable_irq();
  while (1)
  {
  }
}
